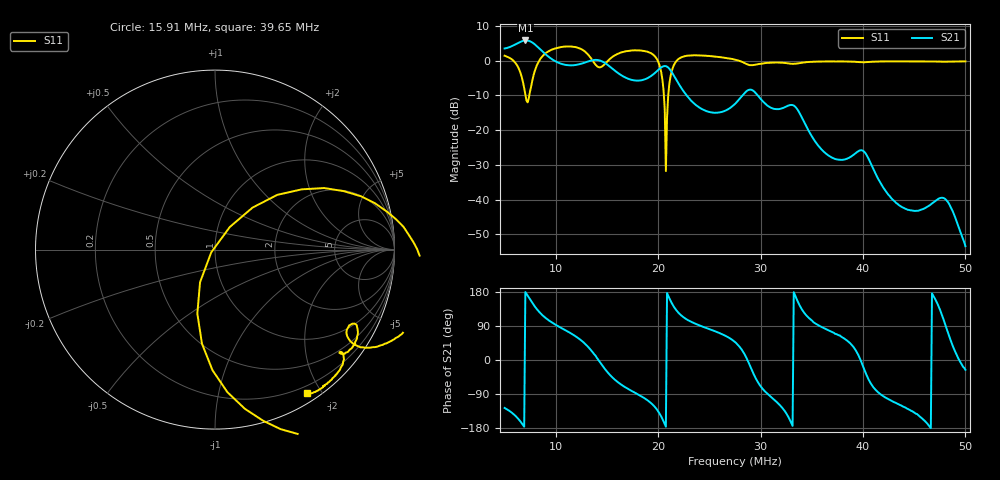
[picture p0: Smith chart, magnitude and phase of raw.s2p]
! S11/S21 only; reverse parameters are placeholders. Device calibration unverified.
! NanoVNA F V2 profile | COM3 | 2026-09-08T11:06:30.4918964-04:00 | device calibration unverified
# HZ S RI R 50
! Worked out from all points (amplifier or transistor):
!   401 points, 5 MHz to 50 MHz, reference 50 ohm
!   highest |S21| = 5.8 dB at 7.025 MHz (marker M1)
!   |S21| within 3 dB of that: start of sweep to 8.637 MHz
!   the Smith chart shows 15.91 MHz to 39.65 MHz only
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5000000  1.159 -0.2043  -0.8903 -1.202  0 0  0 0
6125000  0.7348 -0.5146  -1.488 -0.8871  0 0  0 0
7025000  0.2629 -0.1883  -1.951 0.0229  0 0  0 0
7362500  0.2737 0.0869  -1.861 0.4989  0 0  0 0
8375000  0.4665 -0.877  -0.9047 1.2  0 0  0 0
1.0625e7  -0.1732 -1.567  0.1063 0.8853  0 0  0 0
1.25375e7  -1.085 -0.9637  0.578 0.699  0 0  0 0
1.34375e7  -1.08 0.0685  0.9014 0.4369  0 0  0 0
1.43375e7  -0.0583 0.7998  0.9925 -0.1197  0 0  0 0
1.61375e7  1.269 -0.0419  0.3257 -0.5664  0 0  0 0
1.85e7  1.072 -0.881  -0.0749 -0.5221  0 0  0 0
2.0075e7  0.1672 -0.8876  -0.5641 -0.4943  0 0  0 0
2.075e7  -0.0208 -0.0151  -0.8305 -0.0586  0 0  0 0
2.13125e7  0.6085 0.3429  -0.6001 0.337  0 0  0 0
2.2775e7  1.168 -0.1305  -0.0934 0.3018  0 0  0 0
2.75e7  0.8779 -0.5438  0.1612 0.1754  0 0  0 0
2.975e7  0.7859 -0.4169  0.1599 -0.268  0 0  0 0
3.50375e7  0.6992 -0.6613  -0.0187 0.0777  0 0  0 0
4.01e7  0.5058 -0.8001  0.0451 -0.0194  0 0  0 0
4.2575e7  0.4353 -0.8705  -0.00292 -0.011  0 0  0 0
4.7975e7  0.2292 -0.9382  -0.00142 0.0102  0 0  0 0
5e7  0.1624 -0.9618  0.00192 -0.000929  0 0  0 0
